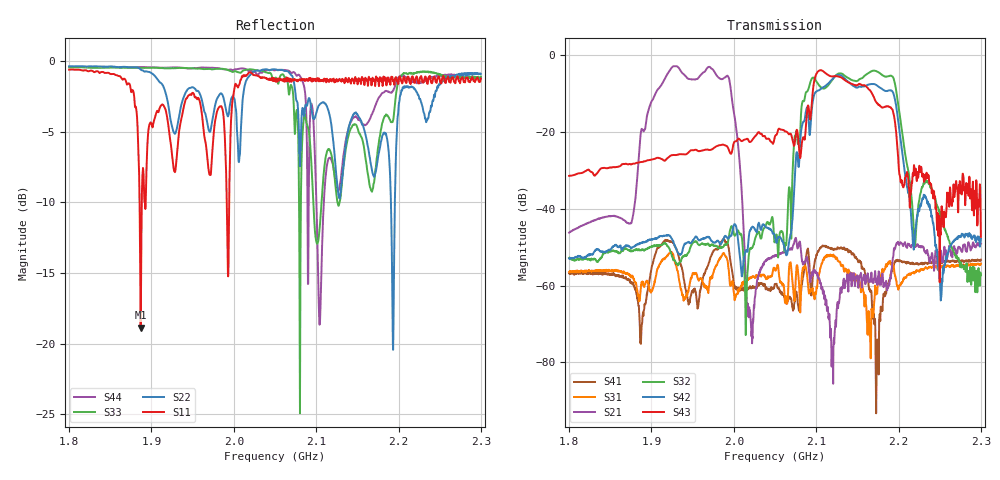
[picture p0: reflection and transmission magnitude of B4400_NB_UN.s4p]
! Matrix data file written by TouchstoneData, EPCOS AG
! FILENAME: "newformat_LZ54B_1_NB.s4p"
! COMMENT: "(LZ54B_1_NB.s4p) EPCOS AG 31.05.2012 14:23:2"
! INFO: nport=4, nfreq=1601
! DATE: "Fri Jun  1 15:21:18 2012"
! USER: "Sergey Rostovtsev"
! port | pin | signal
!  1  |  3  |  TX in
!  2  |  6  |  Ant in/out
!  3  |  8  |  RX out1
!  4  |  1  |  RX out2
# MHZ S MA R 50
! freq  magS11 angS11  magS12 angS12  magS13 angS13  magS14 angS14  ...
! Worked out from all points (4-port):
!   1601 points, 1.8 GHz to 2.3 GHz, reference 50 ohm
!   strongest paths, dB at 1.8 GHz, 1.925 GHz, 2.05 GHz, 2.175 GHz, 2.3 GHz:
!     S43: -31.4, -26.0, -21.1, -12.7, -47.3
!     S42: -52.9, -47.9, -47.4, -8.0, -47.8
!     S32: -52.8, -52.3, -48.2, -4.3, -57.3
!     S21: -46.2, -3.1, -52.0, -57.9, -49.1
!     S31: -56.4, -51.3, -55.6, -59.2, -54.2
!     S41: -56.7, -48.6, -59.6, -77.5, -53.2
!   lowest |S11| = -18.9 dB at 1.887 GHz (marker M1), VSWR 1.26, Z = 45.5 + j9.95 ohm
!   |S11| at or under -10 dB: 1.885556 GHz to 1.88824 GHz (2.684 MHz wide, 0.142 % of centre); 1.892074 GHz to 1.892962 GHz (887.9 kHz wide, 0.0469 % of centre); 1.991417 GHz to 1.994358 GHz (2.941 MHz wide, 0.148 % of centre)
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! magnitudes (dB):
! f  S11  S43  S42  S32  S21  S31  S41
! 1.8 GHz  -0.6  -31.4  -52.9  -52.8  -46.2  -56.4  -56.7
! 1.887 GHz  -18.9  -27.8  -48.9  -50.7  -20.5  -61.1  -74.5
! 1.992 GHz  -14.0  -23.9  -47.7  -49.0  -5.3  -53.5  -49.1
! 2.015 GHz  -1.0  -21.8  -50.9  -65.8  -61.1  -58.9  -60.9
! 2.171 GHz  -1.3  -11.2  -7.5  -4.0  -58.1  -64.0  -69.7
! 2.251 GHz  -1.5  -46.2  -61.7  -41.6  -51.0  -55.3  -53.9
! 2.3 GHz  -1.2  -47.3  -47.8  -57.3  -49.1  -54.2  -53.2
